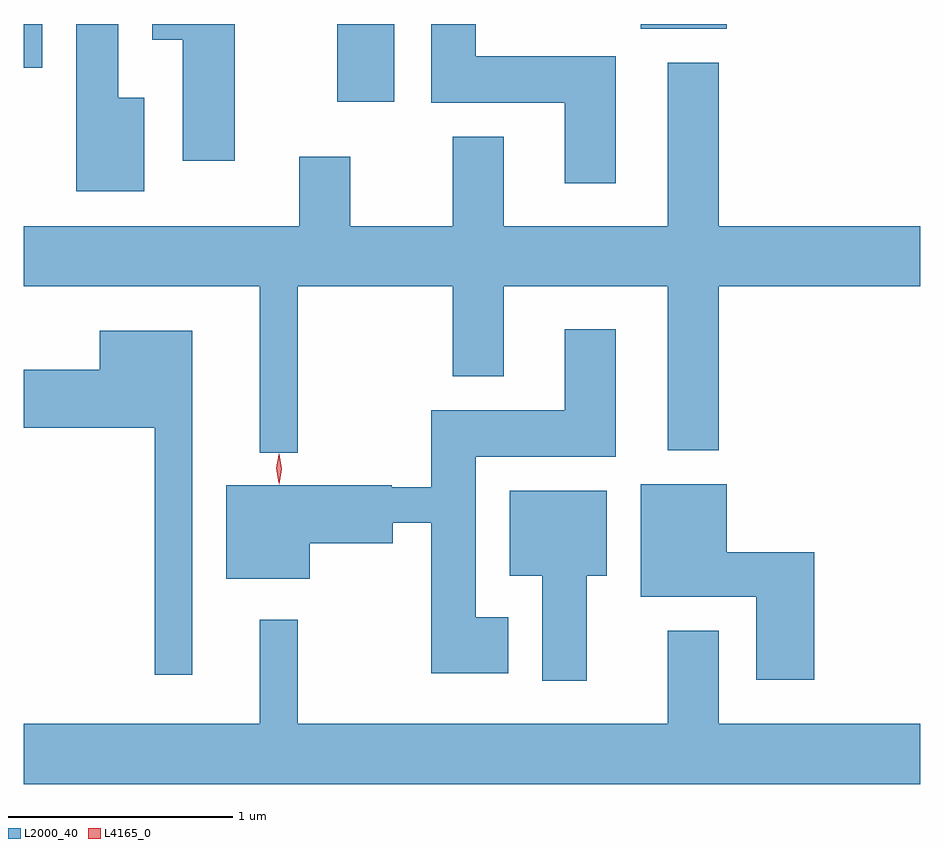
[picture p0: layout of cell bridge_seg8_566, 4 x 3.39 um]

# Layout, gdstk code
import gdstk
lib = gdstk.Library(unit=1e-6, precision=1e-09)
def R(c, l, rs):  # rectangles x0, y0, x1, y1
    for r in rs: c.add(gdstk.rectangle(r[:2], r[2:], *l))
def P(c, l, *ps):  # polygons
    for p in ps: c.add(gdstk.Polygon(p, *l))
L2000_40 = (2000, 40)
L4165_0 = (4165, 0)

bridge_seg8_566 = lib.new_cell('bridge_seg8_566')
R(bridge_seg8_566, L2000_40, [(566.376,1848.341,566.629,1848.687), (564.977,1848.491,565.059,1848.687), (567.731,1848.666,568.114,1848.687)])
P(bridge_seg8_566, L2000_40, [(567.619,1848.544),(566.994,1848.544),(566.994,1848.687),(566.796,1848.687),(566.796,1848.336),(567.391,1848.336),(567.391,1847.976),(567.619,1847.976)],
  [(565.514,1848.359),(565.399,1848.359),(565.399,1848.687),(565.211,1848.687),(565.211,1847.941),(565.514,1847.941)],
  [(565.919,1848.687),(565.551,1848.687),(565.551,1848.616),(565.686,1848.616),(565.686,1848.076),(565.919,1848.076)],
  [(566.199,1847.516),(566.891,1847.516),(566.891,1847.116),(567.119,1847.116),(567.119,1847.516),(567.851,1847.516),(567.851,1846.786),(568.079,1846.786),(568.079,1847.516),(568.977,1847.516),(568.977,1847.784),(568.079,1847.784),(568.079,1848.514),(567.851,1848.514),(567.851,1847.784),(567.119,1847.784),(567.119,1848.184),(566.891,1848.184),(566.891,1847.784),(566.434,1847.784),(566.434,1848.094),(566.206,1848.094),(566.206,1847.784),(564.977,1847.784),(564.977,1847.516),(566.031,1847.516),(566.031,1846.773),(566.199,1846.773)],
  [(567.139,1846.039),(566.994,1846.039),(566.994,1846.756),(567.619,1846.756),(567.619,1847.324),(567.391,1847.324),(567.391,1846.964),(566.796,1846.964),(566.796,1846.619),(566.62,1846.619),(566.62,1846.629),(565.881,1846.629),(565.881,1846.211),(566.254,1846.211),(566.254,1846.371),(566.624,1846.371),(566.624,1846.461),(566.796,1846.461),(566.796,1845.791),(567.139,1845.791)],
  [(565.729,1847.319),(565.316,1847.319),(565.316,1847.144),(564.977,1847.144),(564.977,1846.886),(565.561,1846.886),(565.561,1845.783),(565.729,1845.783)],
  [(568.504,1846.329),(568.114,1846.329),(568.114,1846.634),(567.731,1846.634),(567.731,1846.131),(568.246,1846.131),(568.246,1845.761),(568.504,1845.761)],
  [(567.489,1846.226),(567.579,1846.226),(567.579,1846.604),(567.146,1846.604),(567.146,1846.226),(567.291,1846.226),(567.291,1845.756),(567.489,1845.756)],
  [(568.977,1845.564),(568.079,1845.564),(568.079,1845.979),(567.851,1845.979),(567.851,1845.564),(566.199,1845.564),(566.199,1846.028),(566.031,1846.028),(566.031,1845.564),(564.977,1845.564),(564.977,1845.296),(568.977,1845.296)])
P(bridge_seg8_566, L4165_0, [(566.117,1846.634),(566.107,1846.702),(566.117,1846.77),(566.118,1846.77),(566.118,1846.77),(566.128,1846.702),(566.118,1846.634),(566.118,1846.634)],
  [(566.114,1846.64),(566.114,1846.641),(566.104,1846.704),(566.114,1846.766),(566.115,1846.767),(566.115,1846.766),(566.124,1846.703),(566.115,1846.641)])

lib.write_gds('bridge_seg8_566.gds')
